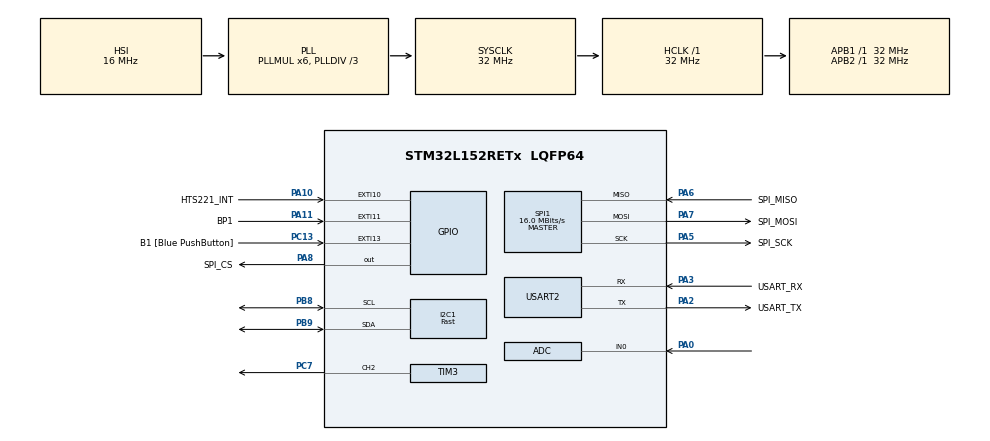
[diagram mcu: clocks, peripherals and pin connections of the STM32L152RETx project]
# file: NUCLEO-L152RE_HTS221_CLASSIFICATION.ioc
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ADC.Channel-0\#ChannelRegularConversion=ADC_CHANNEL_0
ADC.EnableAnalogWatchDog=true
ADC.HighThreshold=4095
ADC.ITMode=ENABLE
ADC.NbrOfConversionFlag=1
ADC.Rank-0\#ChannelRegularConversion=1
ADC.SamplingTime-0\#ChannelRegularConversion=ADC_SAMPLETIME_4CYCLES
I2C1.I2C_Mode=I2C_Fast
I2C1.I2C_Speed_Mode=I2C_Fast
I2C1.Timing=0x00702991
Mcu.Family=STM32L1
Mcu.Name=STM32L152RETx
Mcu.Package=LQFP64
NVIC.ADC1_IRQn=true\:0\:0\:true\:false\:true\:true\:true\:true
NVIC.EXTI15_10_IRQn=true\:0\:0\:false\:false\:true\:true\:true\:true
NVIC.PriorityGroup=NVIC_PRIORITYGROUP_4
NVIC.TIM6_IRQn=true\:0\:0\:false\:false\:true\:true\:true\:true
PA0-WKUP1.Mode=IN0
PA0-WKUP1.Signal=ADC_IN0
PA10.GPIO_Label=HTS221_INT
PA10.Signal=GPXTI10
PA11.GPIO_Label=BP1
PA11.Signal=GPXTI11
PA13.GPIO_Label=TMS
PA13.Mode=Serial_Wire
PA13.Signal=SYS_JTMS-SWDIO
PA2.GPIO_Label=USART_TX
PA2.GPIO_Mode=GPIO_MODE_AF_PP
PA2.GPIO_PuPd=GPIO_NOPULL
PA2.GPIO_Speed=GPIO_SPEED_FREQ_VERY_HIGH
PA2.Mode=Asynchronous
PA2.Signal=USART2_TX
PA3.GPIO_Label=USART_RX
PA3.GPIO_Mode=GPIO_MODE_AF_PP
PA3.GPIO_PuPd=GPIO_NOPULL
PA3.GPIO_Speed=GPIO_SPEED_FREQ_VERY_HIGH
PA3.Mode=Asynchronous
PA3.Signal=USART2_RX
PA5.GPIO_Label=SPI_SCK
PA5.Mode=Full_Duplex_Master
PA5.Signal=SPI1_SCK
PA6.GPIO_Label=SPI_MISO
PA6.Mode=Full_Duplex_Master
PA6.Signal=SPI1_MISO
PA7.GPIO_Label=SPI_MOSI
PA7.Mode=Full_Duplex_Master
PA7.Signal=SPI1_MOSI
PA8.GPIO_Label=SPI_CS
PA8.GPIO_PuPd=GPIO_PULLUP
PA8.Signal=GPIO_Output
PB8.Mode=I2C
PB8.Signal=I2C1_SCL
PB9.Mode=I2C
PB9.Signal=I2C1_SDA
PC13-WKUP2.GPIO_Label=B1 [Blue PushButton]
PC13-WKUP2.GPIO_ModeDefaultEXTI=GPIO_MODE_IT_FALLING
PC13-WKUP2.GPIO_PuPd=GPIO_NOPULL
PC13-WKUP2.Signal=GPXTI13
PC7.Signal=S_TIM3_CH2
ProjectManager.HeapSize=0x200
ProjectManager.StackSize=0x400
ProjectManager.TargetToolchain=STM32CubeIDE
RCC.48MHZClocksFreq_Value=48000000
RCC.AHBFreq_Value=32000000
RCC.APB1Freq_Value=32000000
RCC.APB1TimFreq_Value=32000000
RCC.APB2Freq_Value=32000000
RCC.APB2TimFreq_Value=32000000
RCC.HCLKFreq_Value=32000000
RCC.HSE_VALUE=8000000
RCC.HSI_VALUE=16000000
RCC.LSE_VALUE=32768
RCC.MSI_VALUE=2097000
RCC.PLLDIV=RCC_PLL_DIV3
RCC.PLLMUL=RCC_PLL_MUL6
RCC.RTCClockSelectionVirtual=RCC_RTCCLKSOURCE_LSE
RCC.SYSCLKFreq_VALUE=32000000
RCC.SYSCLKSource=RCC_SYSCLKSOURCE_PLLCLK
RCC.USBOutput=48000000
RCC.VCOOutputFreq_Value=96000000
SH.S_TIM3_CH2.0=TIM3_CH2,PWM Generation2 CH2
SPI1.CalculateBaudRate=16.0 MBits/s
SPI1.Direction=SPI_DIRECTION_2LINES
SPI1.Mode=SPI_MODE_MASTER
SPI1.VirtualType=VM_MASTER
TIM3.Channel-PWM\ Generation2\ CH2=TIM_CHANNEL_2
TIM3.Period=2345
TIM3.Prescaler=31
TIM3.Pulse-PWM\ Generation2\ CH2=1173
TIM6.Period=200
TIM6.Prescaler=31999
USART2.VirtualMode=VM_ASYNC
VP_TIM3_VS_ClockSourceINT.Mode=Internal
VP_TIM6_VS_ClockSourceINT.Mode=Enable_Timer
board=NUCLEO-L152RE

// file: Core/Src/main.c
/* USER CODE BEGIN Header */
/**
 ******************************************************************************
 * @file           : main.c
 * @brief          : Main program body
 ******************************************************************************
 * @attention
 *
 * Copyright (c) 2025 STMicroelectronics.
 * All rights reserved.
 *
 * This software is licensed under terms that can be found in the LICENSE file
 * in the root directory of this software component.
 * If no LICENSE file comes with this software, it is provided AS-IS.
 *
 ******************************************************************************
 */
/* USER CODE END Header */
#include "main.h"

/* USER CODE BEGIN Includes */
#include <string.h>
#include <stdio.h>
#include "hts221_reg.h"
#include <cycle_dwt.h>
#include "NanoEdgeAI.h"
#include "knowledge.h"
/* USER CODE END Includes */

/* USER CODE BEGIN PD */
/************************************************************ NEAI algorithm defines begin ************************************************************/
/************************************************************ Global settings part ************************************************************/
#ifndef SAMPLES
#define SAMPLES           16           /* Should be between 16 & 4096 */
#endif
/************************************************************ Sensors configuration part ************************************************************/
#ifndef HUMIDITY_ODR
#define HUMIDITY_ODR  HTS221_ODR_12Hz5  /* Shoud be between HTS221_ODR_1Hz and HTS221_ODR_12Hz5 */
#endif
/************************************************************ Datalogger / NEAI mode part ************************************************************/
#ifndef NEAI_MODE
#define NEAI_MODE         1             /* 0: Datalogger mode, 1: NEAI functions mode */
#endif

//#if (NEAI_MODE == 1)
// #ifndef NEAI_LEARN_NB
// #define NEAI_LEARN_NB   20            /* Number of buffers to be learn by the NEAI library */
// #endif
//#endif

#if (NEAI_MODE)
#ifndef NB_CLASSES
#define NB_CLASSES 3 /* Number of NEAI classes */
#endif
#endif
/************************************************************ NEAI algorithm defines end ************************************************************/
/* USER CODE END PD */

ADC_HandleTypeDef hadc;

I2C_HandleTypeDef hi2c1;

SPI_HandleTypeDef hspi1;

TIM_HandleTypeDef htim3;
TIM_HandleTypeDef htim6;

UART_HandleTypeDef huart2;

/* USER CODE BEGIN PV */
static int16_t data_raw_humidity;
static uint8_t whoamI;
uint8_t neai_similarity = 0, neai_state = 0, first_comm = 1;
volatile uint8_t drdy = 0;
uint16_t neai_cnt = 0, drdy_counter = 0;
float neai_time = 0.0;
float neai_buffer[SAMPLES] = {0};
stmdev_ctx_t dev_ctx;

/* Structure used to apply coefficient on humidity data */
typedef struct {
	float x0;
	float y0;
	float x1;
	float y1;
} lin_t;
lin_t lin_hum;
#if (NEAI_MODE)
static float class_output_buffer[NB_CLASSES];
const char *id2class[NB_CLASSES + 1] = {"unknown", "HUMID", "DRY", "AMBIANT"}; // adapte les noms
uint16_t id_class = 0;
#endif
uint8_t sequence = 0;
uint8_t start =0;
uint8_t debound_flag = 0;

uint32_t digitalValue =0;
/* USER CODE END PV */

void SystemClock_Config(void);
static void MX_GPIO_Init(void);
static void MX_I2C1_Init(void);
static void MX_USART2_UART_Init(void);
static void MX_SPI1_Init(void);
static void MX_TIM6_Init(void);
static void MX_ADC_Init(void);
static void MX_TIM3_Init(void);
/* USER CODE BEGIN PFP */
static int32_t platform_write(void *handle, uint8_t reg, const uint8_t *bufp, uint16_t len);
static int32_t platform_read(void *handle, uint8_t reg, uint8_t *bufp, uint16_t len);
static void hts221_initialize(void);
static float hts221_linear_interpolation(lin_t *lin, int16_t x);
static void iks01a3_i2c_stuck_quirk(void);
/* USER CODE END PFP */

int main(void)
{

  /* USER CODE BEGIN 1 */
	/* Initialize mems driver interface */
	dev_ctx.write_reg = platform_write;
	dev_ctx.read_reg = platform_read;
	dev_ctx.handle = &hi2c1;
  /* USER CODE END 1 */

  /* MCU Configuration--------------------------------------------------------*/

  /* Reset of all peripherals, Initializes the Flash interface and the Systick. */
  HAL_Init();

  /* Configure the system clock */
  SystemClock_Config();

  /* USER CODE BEGIN SysInit */
	iks01a3_i2c_stuck_quirk();
  /* USER CODE END SysInit */

  /* Initialize all configured peripherals */
  MX_GPIO_Init();
  MX_I2C1_Init();
  MX_USART2_UART_Init();
  MX_SPI1_Init();
  MX_TIM6_Init();
  MX_ADC_Init();
  MX_TIM3_Init();
  /* USER CODE BEGIN 2 */
	MAX7219_Init();
	HAL_Delay(1000);

	KIN1_InitCycleCounter();
	KIN1_EnableCycleCounter();
	hts221_initialize();
	if (NEAI_MODE) {
		neai_state = neai_classification_init(knowledge);
		printf("Initialize NEAI library. NEAI init return: %d.\n", neai_state);
	}
  /* USER CODE END 2 */

  /* Infinite loop */
  /* USER CODE BEGIN WHILE */
	while (1)
	{
		HAL_ADC_Start_IT(&hadc);
		HAL_ADC_PollForConversion(&hadc, 100);
		digitalValue = HAL_ADC_GetValue(&hadc);
		HAL_ADC_Stop_IT(&hadc);
			if (start ==1){

			if (drdy) {
				/* Reset data ready condition */
				drdy = 0;
				/* Read humidity data */
				memset(&data_raw_humidity, 0x00, sizeof(int16_t));
				hts221_humidity_raw_get(&dev_ctx, &data_raw_humidity);
				neai_buffer[drdy_counter] = hts221_linear_interpolation(&lin_hum, data_raw_humidity);
				drdy_counter++;

				if (drdy_counter >= SAMPLES) {
					/* Device power off */
					hts221_power_on_set(&dev_ctx, PROPERTY_DISABLE);
	#if NEAI_MODE
					uint32_t cycles_cnt = 0;
					KIN1_ResetCycleCounter();
					neai_state = neai_classification(neai_buffer, class_output_buffer, &id_class);
					cycles_cnt = KIN1_GetCycleCounter();
					neai_time = (cycles_cnt * 1000000.0) / HAL_RCC_GetSysClockFreq();
					//printf("%s\r\n", id2class[id_class]);
					float humidity = hts221_linear_interpolation(&lin_hum, data_raw_humidity);
					printf("%s,%.2f\r\n", id2class[id_class], humidity);

					//Variable Humidity à utiliser

					if (strcmp(id2class[id_class], "DRY") == 0)
					{
						MAX7219_DisplayChar(1,'S');
						MAX7219_DisplayChar(2,'E');
						MAX7219_DisplayChar(3,'C');
						MAX7219_DisplayChar(4,0xFF);

					}
					else if (strcmp(id2class[id_class], "AMBIANT") == 0)
					{
						MAX7219_DisplayChar(1,'A');
						MAX7219_DisplayChar(2,'N');
						MAX7219_DisplayChar(3,'B');
						MAX7219_DisplayChar(4,0xFF);

					}
					else if (strcmp(id2class[id_class], "HUMID") == 0)
					{
						MAX7219_DisplayChar(1,'H');
						MAX7219_DisplayChar(2,'U');
						MAX7219_DisplayChar(3,'N');
						MAX7219_DisplayChar(4,0xFF);

					}

#else
					for (uint16_t i = 0; i < SAMPLES; i++) {
						printf("%.3f ", neai_buffer[i]);
					}
					printf("\n");
#endif

					/* Reset drdy_counter in order to get a new buffer */
					drdy_counter = 0;
					/* Clean neai buffer */
					memset(neai_buffer, 0x00, SAMPLES * sizeof(float));
					/* Device power on */
					hts221_power_on_set(&dev_ctx, PROPERTY_ENABLE);
				}
			}

    /* USER CODE END WHILE */

		}
	}
}

void SystemClock_Config(void)
{
  RCC_OscInitTypeDef RCC_OscInitStruct = {0};
  RCC_ClkInitTypeDef RCC_ClkInitStruct = {0};

  /** Configure the main internal regulator output voltage
  */
  __HAL_PWR_VOLTAGESCALING_CONFIG(PWR_REGULATOR_VOLTAGE_SCALE1);

  /** Initializes the RCC Oscillators according to the specified parameters
  * in the RCC_OscInitTypeDef structure.
  */
  RCC_OscInitStruct.OscillatorType = RCC_OSCILLATORTYPE_HSI;
  RCC_OscInitStruct.HSIState = RCC_HSI_ON;
  RCC_OscInitStruct.HSICalibrationValue = RCC_HSICALIBRATION_DEFAULT;
  RCC_OscInitStruct.PLL.PLLState = RCC_PLL_ON;
  RCC_OscInitStruct.PLL.PLLSource = RCC_PLLSOURCE_HSI;
  RCC_OscInitStruct.PLL.PLLMUL = RCC_PLL_MUL6;
  RCC_OscInitStruct.PLL.PLLDIV = RCC_PLL_DIV3;
  if (HAL_RCC_OscConfig(&RCC_OscInitStruct) != HAL_OK)
  {
    Error_Handler();
  }

  /** Initializes the CPU, AHB and APB buses clocks
  */
  RCC_ClkInitStruct.ClockType = RCC_CLOCKTYPE_HCLK|RCC_CLOCKTYPE_SYSCLK
                              |RCC_CLOCKTYPE_PCLK1|RCC_CLOCKTYPE_PCLK2;
  RCC_ClkInitStruct.SYSCLKSource = RCC_SYSCLKSOURCE_PLLCLK;
  RCC_ClkInitStruct.AHBCLKDivider = RCC_SYSCLK_DIV1;
  RCC_ClkInitStruct.APB1CLKDivider = RCC_HCLK_DIV1;
  RCC_ClkInitStruct.APB2CLKDivider = RCC_HCLK_DIV1;

  if (HAL_RCC_ClockConfig(&RCC_ClkInitStruct, FLASH_LATENCY_1) != HAL_OK)
  {
    Error_Handler();
  }
}

static void MX_ADC_Init(void)
{

  ADC_AnalogWDGConfTypeDef AnalogWDGConfig = {0};
  ADC_ChannelConfTypeDef sConfig = {0};

  /** Configure the global features of the ADC (Clock, Resolution, Data Alignment and number of conversion)
  */
  hadc.Instance = ADC1;
  hadc.Init.ClockPrescaler = ADC_CLOCK_ASYNC_DIV1;
  hadc.Init.Resolution = ADC_RESOLUTION_12B;
  hadc.Init.DataAlign = ADC_DATAALIGN_RIGHT;
  hadc.Init.ScanConvMode = ADC_SCAN_DISABLE;
  hadc.Init.EOCSelection = ADC_EOC_SEQ_CONV;
  hadc.Init.LowPowerAutoWait = ADC_AUTOWAIT_DISABLE;
  hadc.Init.LowPowerAutoPowerOff = ADC_AUTOPOWEROFF_DISABLE;
  hadc.Init.ChannelsBank = ADC_CHANNELS_BANK_A;
  hadc.Init.ContinuousConvMode = DISABLE;
  hadc.Init.NbrOfConversion = 1;
  hadc.Init.DiscontinuousConvMode = DISABLE;
  hadc.Init.ExternalTrigConv = ADC_SOFTWARE_START;
  hadc.Init.ExternalTrigConvEdge = ADC_EXTERNALTRIGCONVEDGE_NONE;
  hadc.Init.DMAContinuousRequests = DISABLE;
  if (HAL_ADC_Init(&hadc) != HAL_OK)
  {
    Error_Handler();
  }

  /** Configure the analog watchdog
  */
  AnalogWDGConfig.WatchdogMode = ADC_ANALOGWATCHDOG_SINGLE_REG;
  AnalogWDGConfig.Channel = ADC_CHANNEL_0;
  AnalogWDGConfig.ITMode = ENABLE;
  AnalogWDGConfig.HighThreshold = 4096;
  AnalogWDGConfig.LowThreshold = 0;
  if (HAL_ADC_AnalogWDGConfig(&hadc, &AnalogWDGConfig) != HAL_OK)
  {
    Error_Handler();
  }

  /** Configure for the selected ADC regular channel its corresponding rank in the sequencer and its sample time.
  */
  sConfig.Channel = ADC_CHANNEL_0;
  sConfig.Rank = ADC_REGULAR_RANK_1;
  sConfig.SamplingTime = ADC_SAMPLETIME_4CYCLES;
  if (HAL_ADC_ConfigChannel(&hadc, &sConfig) != HAL_OK)
  {
    Error_Handler();
  }

}

static void MX_I2C1_Init(void)
{

  hi2c1.Instance = I2C1;
  hi2c1.Init.ClockSpeed = 400000;
  hi2c1.Init.DutyCycle = I2C_DUTYCYCLE_2;
  hi2c1.Init.OwnAddress1 = 0;
  hi2c1.Init.AddressingMode = I2C_ADDRESSINGMODE_7BIT;
  hi2c1.Init.DualAddressMode = I2C_DUALADDRESS_DISABLE;
  hi2c1.Init.OwnAddress2 = 0;
  hi2c1.Init.GeneralCallMode = I2C_GENERALCALL_DISABLE;
  hi2c1.Init.NoStretchMode = I2C_NOSTRETCH_DISABLE;
  if (HAL_I2C_Init(&hi2c1) != HAL_OK)
  {
    Error_Handler();
  }

}

static void MX_SPI1_Init(void)
{

  /* SPI1 parameter configuration*/
  hspi1.Instance = SPI1;
  hspi1.Init.Mode = SPI_MODE_MASTER;
  hspi1.Init.Direction = SPI_DIRECTION_2LINES;
  hspi1.Init.DataSize = SPI_DATASIZE_8BIT;
  hspi1.Init.CLKPolarity = SPI_POLARITY_LOW;
  hspi1.Init.CLKPhase = SPI_PHASE_1EDGE;
  hspi1.Init.NSS = SPI_NSS_SOFT;
  hspi1.Init.BaudRatePrescaler = SPI_BAUDRATEPRESCALER_2;
  hspi1.Init.FirstBit = SPI_FIRSTBIT_MSB;
  hspi1.Init.TIMode = SPI_TIMODE_DISABLE;
  hspi1.Init.CRCCalculation = SPI_CRCCALCULATION_DISABLE;
  hspi1.Init.CRCPolynomial = 10;
  if (HAL_SPI_Init(&hspi1) != HAL_OK)
  {
    Error_Handler();
  }

}

static void MX_TIM3_Init(void)
{

  TIM_ClockConfigTypeDef sClockSourceConfig = {0};
  TIM_MasterConfigTypeDef sMasterConfig = {0};
  TIM_OC_InitTypeDef sConfigOC = {0};

  htim3.Instance = TIM3;
  htim3.Init.Prescaler = 31;
  htim3.Init.CounterMode = TIM_COUNTERMODE_UP;
  htim3.Init.Period = 2345;
  htim3.Init.ClockDivision = TIM_CLOCKDIVISION_DIV1;
  htim3.Init.AutoReloadPreload = TIM_AUTORELOAD_PRELOAD_DISABLE;
  if (HAL_TIM_Base_Init(&htim3) != HAL_OK)
  {
    Error_Handler();
  }
  sClockSourceConfig.ClockSource = TIM_CLOCKSOURCE_INTERNAL;
  if (HAL_TIM_ConfigClockSource(&htim3, &sClockSourceConfig) != HAL_OK)
  {
    Error_Handler();
  }
  if (HAL_TIM_PWM_Init(&htim3) != HAL_OK)
  {
    Error_Handler();
  }
  sMasterConfig.MasterOutputTrigger = TIM_TRGO_RESET;
  sMasterConfig.MasterSlaveMode = TIM_MASTERSLAVEMODE_DISABLE;
  if (HAL_TIMEx_MasterConfigSynchronization(&htim3, &sMasterConfig) != HAL_OK)
  {
    Error_Handler();
  }
  sConfigOC.OCMode = TIM_OCMODE_PWM1;
  sConfigOC.Pulse = 1173;
  sConfigOC.OCPolarity = TIM_OCPOLARITY_HIGH;
  sConfigOC.OCFastMode = TIM_OCFAST_DISABLE;
  if (HAL_TIM_PWM_ConfigChannel(&htim3, &sConfigOC, TIM_CHANNEL_2) != HAL_OK)
  {
    Error_Handler();
  }
  HAL_TIM_MspPostInit(&htim3);

}

static void MX_TIM6_Init(void)
{

  TIM_MasterConfigTypeDef sMasterConfig = {0};

  htim6.Instance = TIM6;
  htim6.Init.Prescaler = 31999;
  htim6.Init.CounterMode = TIM_COUNTERMODE_UP;
  htim6.Init.Period = 200;
  htim6.Init.AutoReloadPreload = TIM_AUTORELOAD_PRELOAD_DISABLE;
  if (HAL_TIM_Base_Init(&htim6) != HAL_OK)
  {
    Error_Handler();
  }
  sMasterConfig.MasterOutputTrigger = TIM_TRGO_RESET;
  sMasterConfig.MasterSlaveMode = TIM_MASTERSLAVEMODE_DISABLE;
  if (HAL_TIMEx_MasterConfigSynchronization(&htim6, &sMasterConfig) != HAL_OK)
  {
    Error_Handler();
  }

}

static void MX_USART2_UART_Init(void)
{

  huart2.Instance = USART2;
  huart2.Init.BaudRate = 115200;
  huart2.Init.WordLength = UART_WORDLENGTH_8B;
  huart2.Init.StopBits = UART_STOPBITS_1;
  huart2.Init.Parity = UART_PARITY_NONE;
  huart2.Init.Mode = UART_MODE_TX_RX;
  huart2.Init.HwFlowCtl = UART_HWCONTROL_NONE;
  huart2.Init.OverSampling = UART_OVERSAMPLING_16;
  if (HAL_UART_Init(&huart2) != HAL_OK)
  {
    Error_Handler();
  }

}

static void MX_GPIO_Init(void)
{
  GPIO_InitTypeDef GPIO_InitStruct = {0};

  /* GPIO Ports Clock Enable */
  __HAL_RCC_GPIOC_CLK_ENABLE();
  __HAL_RCC_GPIOA_CLK_ENABLE();
  __HAL_RCC_GPIOB_CLK_ENABLE();

  /*Configure GPIO pin Output Level */
  HAL_GPIO_WritePin(SPI_CS_GPIO_Port, SPI_CS_Pin, GPIO_PIN_RESET);

  /*Configure GPIO pin : B1_Pin */
  GPIO_InitStruct.Pin = B1_Pin;
  GPIO_InitStruct.Mode = GPIO_MODE_IT_FALLING;
  GPIO_InitStruct.Pull = GPIO_NOPULL;
  HAL_GPIO_Init(B1_GPIO_Port, &GPIO_InitStruct);

  /*Configure GPIO pin : SPI_CS_Pin */
  GPIO_InitStruct.Pin = SPI_CS_Pin;
  GPIO_InitStruct.Mode = GPIO_MODE_OUTPUT_PP;
  GPIO_InitStruct.Pull = GPIO_PULLUP;
  GPIO_InitStruct.Speed = GPIO_SPEED_FREQ_LOW;
  HAL_GPIO_Init(SPI_CS_GPIO_Port, &GPIO_InitStruct);

  /*Configure GPIO pins : HTS221_INT_Pin BP1_Pin */
  GPIO_InitStruct.Pin = HTS221_INT_Pin|BP1_Pin;
  GPIO_InitStruct.Mode = GPIO_MODE_IT_RISING;
  GPIO_InitStruct.Pull = GPIO_NOPULL;
  HAL_GPIO_Init(GPIOA, &GPIO_InitStruct);

  /* EXTI interrupt init*/
  HAL_NVIC_SetPriority(EXTI15_10_IRQn, 0, 0);
  HAL_NVIC_EnableIRQ(EXTI15_10_IRQn);

}

/* USER CODE BEGIN 4 */
/**
 * @brief  Redirecting stdout to USART2 which is connected on the STLINK port
 * @retval
 * @param
 */
int __io_putchar(int ch)
{
	uint8_t c[1];
	c[0] = ch & 0x00FF;
	HAL_UART_Transmit(&huart2, &*c, 1, 10);
	return ch;
}

/**
 * @brief  EXTI line rising detection callback.
 * @param  GPIO_Pin Specifies the port pin connected to corresponding EXTI line.
 * @retval None
 */
void HAL_GPIO_EXTI_Callback(uint16_t GPIO_Pin)
{

	    switch(GPIO_Pin) {
	    	case HTS221_INT_Pin:
	    		drdy = 1;
	    		break;

		case B1_Pin:  // PC13
			if(!debound_flag){
					debound_flag = 1;
					__HAL_TIM_SET_COUNTER(&htim6, 0);
					HAL_TIM_Base_Start_IT(&htim6);
			if (sequence == 0)
			{
				sequence = 1;
				printf("Etape 1 : B1 OK (sequence=1)\r\n");
			}
			else if (sequence == 3)
			{
				sequence = 4;
				start = 1;
				printf("Sequence complete OK \r\n");
				MAX7219_DisplayChar(1, 'I');
				MAX7219_DisplayChar(2, 'N');
				MAX7219_DisplayChar(3, 'I');
				MAX7219_DisplayChar(4, 'T');  // smiley ou OFF
			}
			else
			{
				printf("Erreur sur B1 : reset\r\n");
				sequence = 0;
			}
			}
			break;

		case BP1_Pin: // PA11
			if(!debound_flag){
					debound_flag = 1;
					__HAL_TIM_SET_COUNTER(&htim6, 0);
					HAL_TIM_Base_Start_IT(&htim6);
			if (sequence == 1)
			{
				sequence = 2;
				printf("Etape 2 : BTN1 x1 OK (sequence=2)\r\n");
			}
			else if (sequence == 2)
			{
				sequence = 3;
				printf("Etape 3 : BTN1 x2 OK (sequence=3)\r\n");
			}
			else
			{
				printf("Erreur sur BTN1 : reset\r\n");
				sequence = 0;
			}
			}
			break;
		}

	}

/*
 * @brief  Write generic device register (platform dependent)
 *
 * @param  handle    customizable argument. In this examples is used in
 *                   order to select the correct sensor bus handler.
 * @param  reg       register to write
 * @param  bufp      pointer to data to write in register reg
 * @param  len       number of consecutive register to write
 *
 */
static int32_t platform_write(void *handle, uint8_t reg, const uint8_t *bufp, uint16_t len)
{
	/* Write multiple command */
	reg |= 0x80;
	HAL_I2C_Mem_Write(handle, HTS221_I2C_ADDRESS, reg, I2C_MEMADD_SIZE_8BIT, (uint8_t*) bufp, len, 1000);
	return 0;
}

/*
 * @brief  Read generic device register (platform dependent)
 *
 * @param  handle    customizable argument. In this examples is used in
 *                   order to select the correct sensor bus handler.
 * @param  reg       register to read
 * @param  bufp      pointer to buffer that store the data read
 * @param  len       number of consecutive register to read
 *
 */
static int32_t platform_read(void *handle, uint8_t reg, uint8_t *bufp, uint16_t len)
{
	/* Read multiple command */
	reg |= 0x80;
	HAL_I2C_Mem_Read(handle, HTS221_I2C_ADDRESS, reg, I2C_MEMADD_SIZE_8BIT, bufp, len, 1000);
	return 0;
}

/*
 * @brief  Initialize HTS221 sensor interface
 *
 * @param  No
 *
 * @return No
 *
 */
static void hts221_initialize()
{
	/* Check device ID */
	whoamI = 0;

	do {
		HAL_Delay(20);
		hts221_device_id_get(&dev_ctx, &whoamI);
	} while(whoamI != HTS221_ID);

	/* Read humidity calibration coefficient */
	hts221_hum_adc_point_0_get(&dev_ctx, &lin_hum.x0);
	hts221_hum_rh_point_0_get(&dev_ctx, &lin_hum.y0);
	hts221_hum_adc_point_1_get(&dev_ctx, &lin_hum.x1);
	hts221_hum_rh_point_1_get(&dev_ctx, &lin_hum.y1);
	/* Enable Block Data Update */
	hts221_block_data_update_set(&dev_ctx, PROPERTY_ENABLE);
	/* Set Output Data Rate */
	hts221_data_rate_set(&dev_ctx, HUMIDITY_ODR);
	/* Enable data ready on interrupt pin */
	hts221_drdy_on_int_set(&dev_ctx, PROPERTY_ENABLE);
	/* Device power on */
	hts221_power_on_set(&dev_ctx, PROPERTY_ENABLE);
	/* In order to avoid bug after "software reset" if
	 * interrupt is still enabled at boot we get a dummy value
	 */
	hts221_humidity_raw_get(&dev_ctx, &data_raw_humidity);

}

/*
 * @brief  Function used to apply calibration coefficients on the raw humidity data
 *
 * @param  lin  Humidity calibration coefficients
 * @param  x    Raw humidity data
 *
 * @return The humidity in percentage %
 *
 */
static float hts221_linear_interpolation(lin_t *lin, int16_t x)
{
	float percentage_hum = ((lin->y1 - lin->y0) * x + ((lin->x1 * lin->y0) -
			(lin->x0 * lin->y1))) / (lin->x1 - lin->x0);
	if (percentage_hum < 0.0) percentage_hum = 0.0;
	else if (percentage_hum > 100.0) percentage_hum = 100.0;
	return percentage_hum;
}

/*
 * Pressing the reset button while the sensor is answering to a read request
 * might lead to disaster.
 * In this case the device is stuck, waiting for pulses on SCL to finish the
 * previous transfer.
 * While stuck the sensor keep the SDA low.
 *
 * As a workaround we simply configure the SCL pin as a GPIO and send a burst
 * of pulses to bring the sensor back to an idle state.
 */
static void iks01a3_i2c_stuck_quirk(void)
{
	GPIO_InitTypeDef GPIO_InitStruct = {0};

	/* GPIO Ports Clock Enable */
	__HAL_RCC_GPIOB_CLK_ENABLE();

	/* Configure SCL as a GPIO */
	GPIO_InitStruct.Pin = SCL_PIN;
	GPIO_InitStruct.Mode = GPIO_MODE_OUTPUT_PP;
	GPIO_InitStruct.Pull = GPIO_NOPULL;
	GPIO_InitStruct.Speed = GPIO_SPEED_FREQ_LOW;
	GPIO_InitStruct.Alternate = GPIO_AF4_I2C1;
	HAL_GPIO_Init(SCL_PORT, &GPIO_InitStruct);

	/* Send a burst of pulses on SCL */
	int pulses = 20;
	do {
		HAL_Delay(1);
		HAL_GPIO_WritePin(SCL_PORT, SCL_PIN, GPIO_PIN_RESET);
		HAL_Delay(1);
		HAL_GPIO_WritePin(SCL_PORT, SCL_PIN, GPIO_PIN_SET);
	} while (pulses--);

	/* GPIO Ports Clock Enable */
	__HAL_RCC_GPIOB_CLK_DISABLE();
}

void buzzer (uint8_t buzzerState){
	if (buzzerState){
		HAL_TIM_PWM_Start_IT(&htim3, TIM_CHANNEL_2);
	}
	else{
		HAL_TIM_PWM_Stop_IT(&htim3, TIM_CHANNEL_2);
	}
}

/* USER CODE END 4 */

void Error_Handler(void)
{
	__disable_irq();
	while (1)
	{
	}
}
